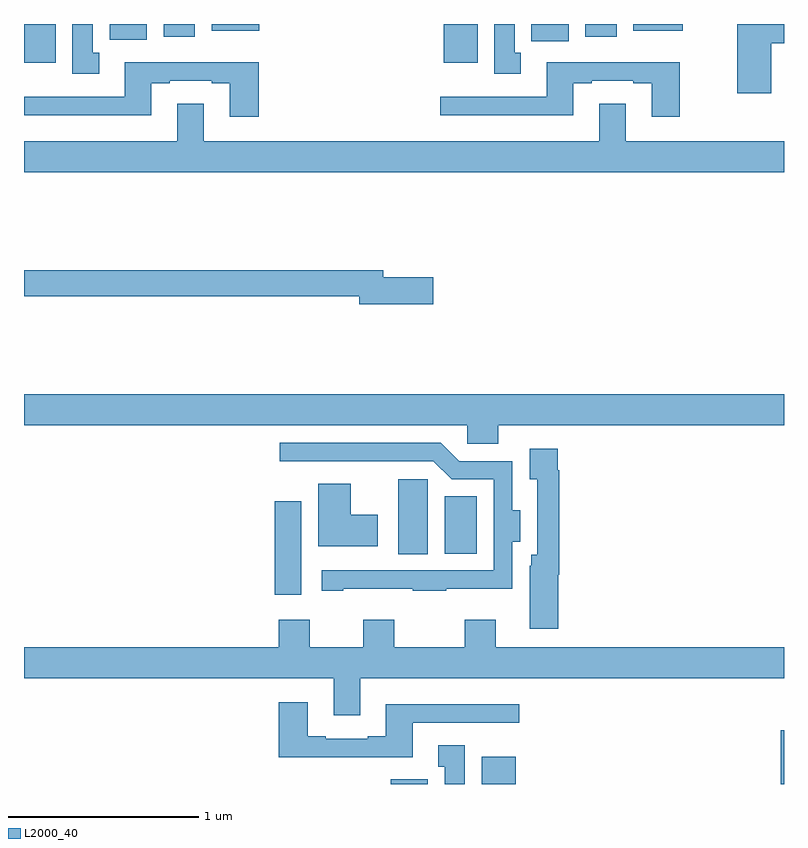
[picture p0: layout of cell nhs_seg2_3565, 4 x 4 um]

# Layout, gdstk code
import gdstk
lib = gdstk.Library(unit=1e-6, precision=1e-09)
def R(c, l, rs):  # rectangles x0, y0, x1, y1
    for r in rs: c.add(gdstk.rectangle(r[:2], r[2:], *l))
def P(c, l, *ps):  # polygons
    for p in ps: c.add(gdstk.Polygon(p, *l))
L2000_40 = (2000, 40)

nhs_seg2_3565 = lib.new_cell('nhs_seg2_3565')
R(nhs_seg2_3565, L2000_40, [(300.929,593.8,301.126,593.824), (301.409,593.8,301.588,593.944), (302.984,593.8,303,594.082), (300.32,594.795,300.46,595.288), (300.971,595.009,301.126,595.405), (301.214,595.013,301.384,595.315), (299,597.596,299.167,597.8), (301.208,597.596,301.387,597.8), (301.671,597.708,301.867,597.8), (299.45,597.716,299.647,597.8), (299.735,597.734,299.899,597.8), (301.955,597.734,302.119,597.8), (299.987,597.764,300.238,597.8), (302.207,597.764,302.466,597.8)])
P(nhs_seg2_3565, L2000_40, [(299.395,597.65),(299.362,597.65),(299.362,597.8),(299.255,597.8),(299.255,597.537),(299.395,597.537)],
  [(302.933,597.7),(303,597.7),(303,597.8),(302.755,597.8),(302.755,597.435),(302.933,597.435)],
  [(301.615,597.649),(301.582,597.649),(301.582,597.8),(301.475,597.8),(301.475,597.537),(301.615,597.537)],
  [(302.451,597.598),(301.751,597.598),(301.751,597.417),(301.191,597.417),(301.191,597.32),(301.891,597.32),(301.891,597.489),(301.987,597.489),(301.987,597.501),(302.207,597.501),(302.207,597.489),(302.303,597.489),(302.303,597.312),(302.451,597.312)],
  [(300.236,597.598),(299.531,597.598),(299.531,597.417),(299,597.417),(299,597.32),(299.671,597.32),(299.671,597.489),(299.767,597.489),(299.767,597.501),(299.987,597.501),(299.987,597.489),(300.083,597.489),(300.083,597.312),(300.236,597.312)],
  [(303,597.184),(302.167,597.184),(302.167,597.379),(302.027,597.379),(302.027,597.184),(299.947,597.184),(299.947,597.379),(299.807,597.379),(299.807,597.184),(299,597.184),(299,597.02),(303,597.02)],
  [(301.153,596.468),(300.892,596.468),(300.892,596.504),(299,596.504),(299,596.368),(300.764,596.368),(300.764,596.326),(301.153,596.326)],
  [(301.496,595.688),(303,595.688),(303,595.852),(299,595.852),(299,595.688),(301.332,595.688),(301.332,595.59),(301.496,595.59)],
  [(300.679,594.827),(301.045,594.827),(301.045,594.816),(301.223,594.816),(301.223,594.827),(301.569,594.827),(301.569,595.076),(301.612,595.076),(301.612,595.24),(301.57,595.24),(301.57,595.5),(301.29,595.5),(301.194,595.596),(300.345,595.596),(300.345,595.5),(301.155,595.5),(301.251,595.404),(301.473,595.404),(301.473,594.924),(300.567,594.924),(300.567,594.816),(300.679,594.816)],
  [(301.811,594.902),(301.817,594.902),(301.817,595.451),(301.81,595.451),(301.81,595.564),(301.661,595.564),(301.661,595.403),(301.701,595.403),(301.701,595.006),(301.67,595.006),(301.67,594.948),(301.661,594.948),(301.661,594.618),(301.811,594.618)],
  [(300.862,595.216),(300.721,595.216),(300.721,595.381),(300.548,595.381),(300.548,595.052),(300.862,595.052)],
  [(300.769,594.356),(303,594.356),(303,594.52),(301.483,594.52),(301.483,594.664),(301.319,594.664),(301.319,594.52),(300.949,594.52),(300.949,594.664),(300.785,594.664),(300.785,594.52),(300.505,594.52),(300.505,594.664),(300.341,594.664),(300.341,594.52),(299,594.52),(299,594.356),(300.629,594.356),(300.629,594.162),(300.769,594.162)],
  [(301.045,594.123),(301.606,594.123),(301.606,594.22),(300.905,594.22),(300.905,594.052),(300.809,594.052),(300.809,594.039),(300.589,594.039),(300.589,594.052),(300.493,594.052),(300.493,594.229),(300.341,594.229),(300.341,593.942),(301.045,593.942)],
  [(301.321,594.004),(301.181,594.004),(301.181,593.891),(301.214,593.891),(301.214,593.8),(301.321,593.8)])

lib.write_gds('nhs_seg2_3565.gds')
